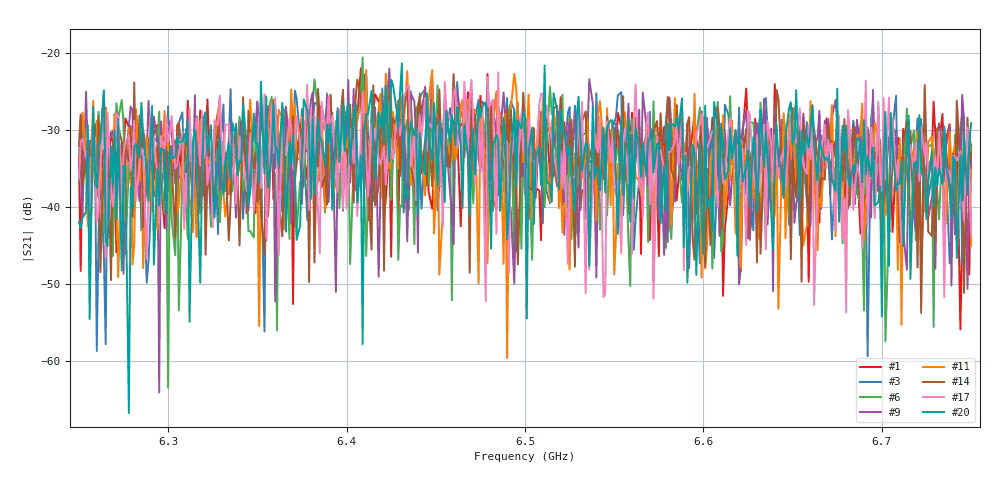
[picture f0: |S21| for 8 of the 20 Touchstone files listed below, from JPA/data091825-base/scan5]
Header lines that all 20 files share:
# Hz S RI R 50
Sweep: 6.25 GHz to 6.75 GHz
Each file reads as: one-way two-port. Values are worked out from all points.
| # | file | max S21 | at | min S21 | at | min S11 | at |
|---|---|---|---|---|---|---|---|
| 1 | trace80.s2p | -21.98 dB | 6.408 GHz | -55.9 dB | 6.744 GHz | -3.3 dB | 6.635 GHz |
| 2 | trace81.s2p | -22.49 dB | 6.475 GHz | -55.9 dB | 6.57 GHz | -3.4 dB | 6.655 GHz |
| 3 | trace82.s2p | -22.79 dB | 6.41 GHz | -59.4 dB | 6.692 GHz | -3.6 dB | 6.628 GHz |
| 4 | trace83.s2p | -20.57 dB | 6.411 GHz | -58.5 dB | 6.45 GHz | -3.2 dB | 6.655 GHz |
| 5 | trace84.s2p | -23.06 dB | 6.438 GHz | -59.2 dB | 6.745 GHz | -3.4 dB | 6.664 GHz |
| 6 | trace85.s2p | -20.57 dB | 6.409 GHz | -63.5 dB | 6.3 GHz | -3.6 dB | 6.66 GHz |
| 7 | trace86.s2p | -22.28 dB | 6.435 GHz | -56.8 dB | 6.688 GHz | -3.6 dB | 6.65 GHz |
| 8 | trace87.s2p | -22.80 dB | 6.482 GHz | -55.9 dB | 6.429 GHz | -3.4 dB | 6.652 GHz |
| 9 | trace88.s2p | -22.04 dB | 6.424 GHz | -64.1 dB | 6.295 GHz | -3.3 dB | 6.629 GHz |
| 10 | trace89.s2p | -21.18 dB | 6.5 GHz | -73.8 dB | 6.42 GHz | -3.6 dB | 6.638 GHz |
| 11 | trace90.s2p | -22.23 dB | 6.411 GHz | -59.6 dB | 6.49 GHz | -4.8 dB | 6.734 GHz |
| 12 | trace91.s2p | -20.54 dB | 6.465 GHz | -58.3 dB | 6.568 GHz | -3.3 dB | 6.688 GHz |
| 13 | trace92.s2p | -22.27 dB | 6.416 GHz | -57.4 dB | 6.571 GHz | -3.2 dB | 6.648 GHz |
| 14 | trace93.s2p | -22.76 dB | 6.46 GHz | -53.8 dB | 6.722 GHz | -3.6 dB | 6.694 GHz |
| 15 | trace94.s2p | -22.40 dB | 6.459 GHz | -53.7 dB | 6.328 GHz | -3.4 dB | 6.664 GHz |
| 16 | trace95.s2p | -20.88 dB | 6.392 GHz | -60.5 dB | 6.624 GHz | -3.2 dB | 6.666 GHz |
| 17 | trace96.s2p | -22.50 dB | 6.485 GHz | -53.7 dB | 6.68 GHz | -3.6 dB | 6.641 GHz |
| 18 | trace97.s2p | -23.58 dB | 6.471 GHz | -63.5 dB | 6.38 GHz | -3.2 dB | 6.655 GHz |
| 19 | trace98.s2p | -21.49 dB | 6.38 GHz | -53.9 dB | 6.545 GHz | -3.4 dB | 6.649 GHz |
| 20 | trace99.s2p | -21.36 dB | 6.431 GHz | -66.8 dB | 6.278 GHz | -3.8 dB | 6.696 GHz |
